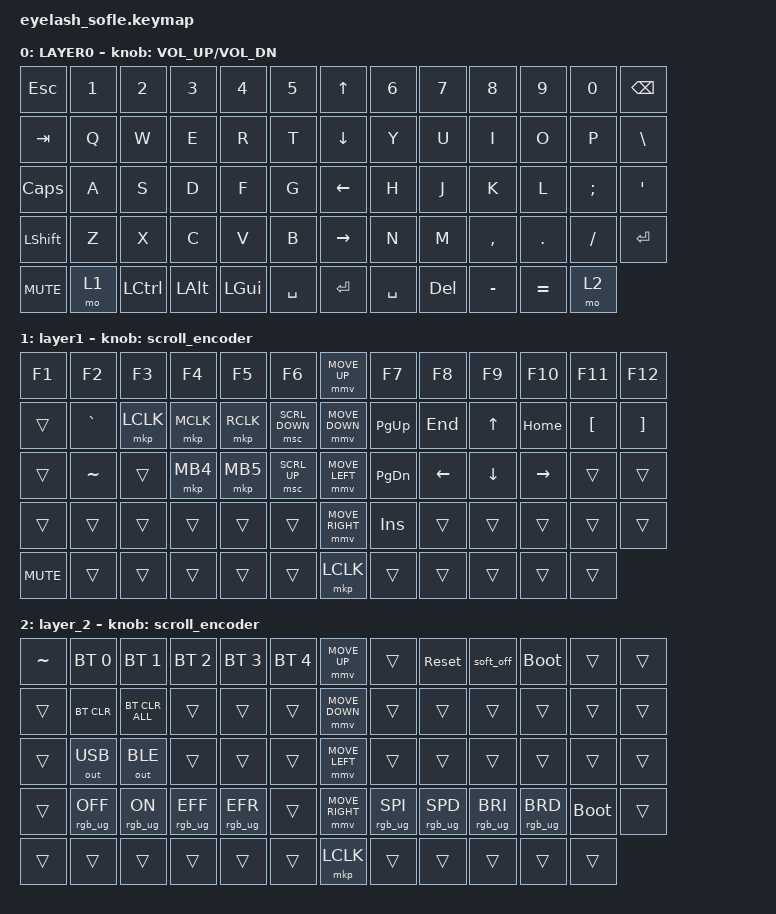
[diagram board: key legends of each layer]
#include <dt-bindings/zmk/mouse.h>
#include <input/processors.dtsi>
#include <behaviors.dtsi>
#include <dt-bindings/zmk/bt.h>
#include <dt-bindings/zmk/keys.h>
#include <dt-bindings/zmk/outputs.h>
#include <dt-bindings/zmk/pointing.h>
#include <dt-bindings/zmk/pointing.h>
#include <dt-bindings/zmk/pointing.h>
#include <dt-bindings/zmk/rgb.h>

/*

   &mmv_input_listener {
       input-processors = <&zip_xy_scaler 2 1>;
   };

   &msc_input_listener {
       input-processors = <&zip_xy_scaler 2 1>;
   };

 */

#define ZMK_MOUSE_DEFAULT_MOVE_VAL 2400  // 600
#define ZMK_MOUSE_DEFAULT_SCRL_VAL 400    // 10

/ {
    behaviors {
        mmv {
            acceleration-exponent = <1>;      // 1
            time-to-max-speed-ms = <10>;    // 40
            delay-ms = <0>;                   // 0
        };

        msc {
            acceleration-exponent = <1>;      // 0
            time-to-max-speed-ms = <10>;      // 500
            delay-ms = <0>;                   //   10
        };
    };

    scroll_encoder: scroll_encoder {
        compatible = "zmk,behavior-sensor-rotate";
        #sensor-binding-cells = <0>;
        bindings = <&msc SCRL_DOWN>, <&msc SCRL_UP>;

        tap-ms = <120>;
    };

    keymap {
        compatible = "zmk,keymap";

        layer0 {
            bindings = <
&kp ESC     &kp N1  &kp N2            &kp N3        &kp N4        &kp N5       &kp UP_ARROW     &kp N6     &kp N7      &kp N8     &kp N9     &kp N0    &kp BACKSPACE
&kp TAB     &kp Q   &kp W             &kp E         &kp R         &kp T        &kp DOWN_ARROW   &kp Y      &kp U       &kp I      &kp O      &kp P     &kp BSLH
&kp CAPS    &kp A   &kp S             &kp D         &kp F         &kp G        &kp LEFT_ARROW   &kp H      &kp J       &kp K      &kp L      &kp SEMI  &kp APOS
&kp LSHFT   &kp Z   &kp X             &kp C         &kp V         &kp B        &kp RIGHT_ARROW  &kp N      &kp M       &kp COMMA  &kp DOT    &kp FSLH  &kp ENTER
&kp C_MUTE  &mo 1   &kp LEFT_CONTROL  &kp LEFT_ALT  &kp LEFT_GUI  &kp SPACE    &kp ENTER        &kp SPACE  &kp DELETE  &kp MINUS  &kp EQUAL  &mo 2
            >;

            sensor-bindings = <&inc_dec_kp C_VOLUME_UP C_VOL_DN>;
            display-name = "LAYER0";
        };

        layer_1 {
            bindings = <
&kp F1      &kp F2     &kp F3     &kp F4     &kp F5     &kp F6            &mmv MOVE_UP     &kp F7      &kp F8    &kp F9    &kp F10    &kp F11           &kp F12
&trans      &kp GRAVE  &mkp LCLK  &mkp MCLK  &mkp RCLK  &msc SCRL_DOWN    &mmv MOVE_DOWN   &kp PG_UP   &kp END   &kp UP    &kp HOME   &kp LEFT_BRACKET  &kp RIGHT_BRACKET
&trans      &kp TILDE  &trans     &mkp MB4   &mkp MB5   &msc SCRL_UP      &mmv MOVE_LEFT   &kp PG_DN   &kp LEFT  &kp DOWN  &kp RIGHT  &trans            &trans
&trans      &trans     &trans     &trans     &trans     &trans            &mmv MOVE_RIGHT  &kp INSERT  &trans    &trans    &trans     &trans            &trans
&kp C_MUTE  &trans     &trans     &trans     &trans     &trans            &mkp LCLK        &trans      &trans    &trans    &trans     &trans
            >;

            display-name = "layer1";
            sensor-bindings = <&scroll_encoder>;
        };

        layer_2 {
            bindings = <
&kp TILDE  &bt BT_SEL 0     &bt BT_SEL 1    &bt BT_SEL 2     &bt BT_SEL 3     &bt BT_SEL 4    &mmv MOVE_UP     &trans           &sys_reset       &soft_off        &bootloader      &trans       &trans
&trans     &bt BT_CLR       &bt BT_CLR_ALL  &trans           &trans           &trans          &mmv MOVE_DOWN   &trans           &trans           &trans           &trans           &trans       &trans
&trans     &out OUT_USB     &out OUT_BLE    &trans           &trans           &trans          &mmv MOVE_LEFT   &trans           &trans           &trans           &trans           &trans       &trans
&trans     &rgb_ug RGB_OFF  &rgb_ug RGB_ON  &rgb_ug RGB_EFF  &rgb_ug RGB_EFR  &trans          &mmv MOVE_RIGHT  &rgb_ug RGB_SPI  &rgb_ug RGB_SPD  &rgb_ug RGB_BRI  &rgb_ug RGB_BRD  &bootloader  &trans
&trans     &trans           &trans          &trans           &trans           &trans          &mkp LCLK        &trans           &trans           &trans           &trans           &trans
            >;

            sensor-bindings = <&scroll_encoder>;
        };
    };
};
